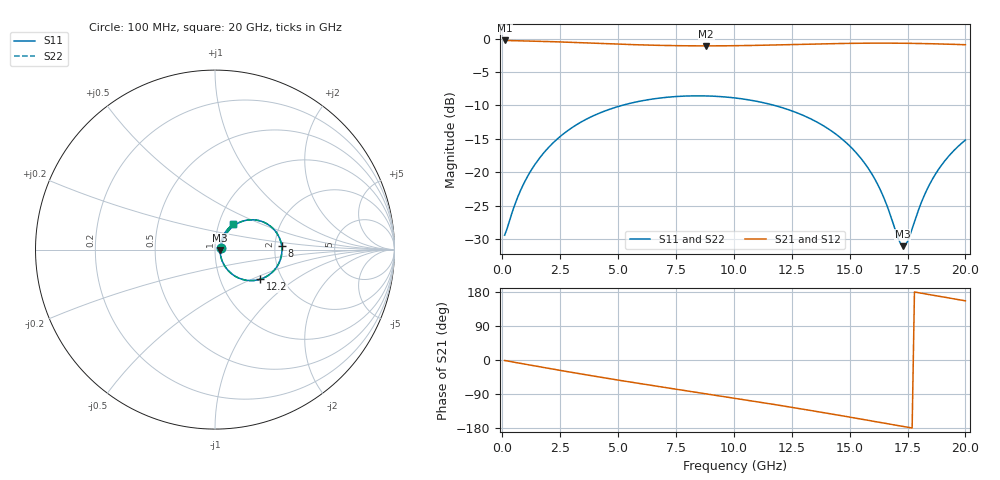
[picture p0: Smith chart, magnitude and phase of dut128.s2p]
! Touchstone file exported from HFSS 2026.1.0
!  File:  C:/ffzhzh/LocalFiles/Ansys_Project_Files/temp_train_TSV_RDL_128_1783049030_17544.aedt
!  Generated:  11:33:15 AM Jul  3, 2026
!  Design:  TSV_RDL
!  Project:  temp_train_TSV_RDL_128_1783049030_17544
! Variables:
!  h_bsmrdl = 5.69um
!  h_ox = 20um
!  h_rdl = 5um
!  h_sub = 70.52um
!  h_tmrdl = 3.34um
!  h_tsv = 70.52um
!  h_via = 3um
!  l_bsmrdl = 116.79um
!  l_sub = 3453.95um
!  l_tmrdl = 659.23um
!  m_sub = 200um
!  pitch = 19.86um
!  r_tsv = 2.91um
!  s_tmrdl = 10um
!  w_bsmrdl = 10.99um
!  w_sub = 500um
!  w_tmrdl = 11.23um
!  x_tsv_center1 = 664.845um
!  x_tsv_center2 = 792.625um
!  x_tsv_center3 = 1463.085um
!  x_tsv_center4 = 1590.865um
!  x_tsv_center5 = 2261.325um
!  x_tsv_center6 = 2389.105um
# GHz S MA R 50.000000
! Terminal data exported
! Port[1] = TM_RDL1_1_T1
! Port[2] = TM_RDL5_1_T1
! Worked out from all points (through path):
!   200 points, 100 MHz to 20 GHz, reference 50 ohm
!   highest |S21| = -0.29 dB at 100 MHz (marker M1); lowest = -1.1 dB at 8.8 GHz (marker M2)
!   group delay of S21, straight-line fit = 27.8 ps
!   lowest |S11| = -31.0 dB at 17.3 GHz (marker M3), VSWR 1.06, Z = 52.9 - j0.173 ohm
!   |S11| at or under -10 dB: start of sweep to 5.171 GHz; 11.75 GHz to end of sweep
!   |S22| runs from -31.1 to -8.6 dB; largest |S21 - S12| = 1.6e-14
!   S11 on the Smith chart (normalised r, x): 100 MHz: 1.07, +0.02; 8 GHz: 2.18, +0.11; 12.2 GHz: 1.54, -0.56; 20 GHz: 1.17, +0.34
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0.1  0.03388 14.0  0.9673 -1.2  0.9673 -1.2  0.03388 14.0
! Gamma 0 0 0 0
! Port Impedance 50 0 50 0
0.7  0.06742 49.1  0.9616 -8.0  0.9616 -8.0  0.06742 49.1
1.4  0.1138 54.6  0.9553 -15.6  0.9553 -15.6  0.1138 54.5
2.3  0.1727 51.5  0.9455 -25.3  0.9455 -25.3  0.1727 51.4
3.5  0.2427 42.6  0.9292 -37.9  0.9292 -37.9  0.2427 42.6
5.1  0.3137 28.8  0.9067 -54.0  0.9067 -54.0  0.3138 28.8
6.8  0.3588 13.8  0.8889 -70.3  0.8889 -70.3  0.3588 13.8
8  0.3719 3.3  0.8824 -81.7  0.8824 -81.7  0.372 3.3
8.8  0.3723 -3.7  0.8811 -89.2  0.8811 -89.2  0.3723 -3.7
10.1  0.3587 -15.1  0.884 -101.5  0.884 -101.5  0.3587 -15.1
12.2  0.3 -33.5  0.8984 -121.9  0.8984 -121.9  0.3 -33.5
13.4  0.247 -43.9  0.9088 -134.0  0.9088 -134.0  0.247 -43.9
14.5  0.1874 -52.6  0.9172 -145.4  0.9172 -145.4  0.1874 -52.7
15.4  0.1327 -58.1  0.9219 -154.9  0.9219 -154.9  0.1328 -58.2
16.1  0.08823 -58.9  0.9236 -162.4  0.9236 -162.4  0.08822 -59.1
16.7  0.05126 -50.5  0.9236 -168.8  0.9236 -168.8  0.05119 -50.7
17.1  0.03199 -26.7  0.9227 -173.1  0.9227 -173.1  0.03182 -27.0
17.3  0.02803 -3.3  0.922 -175.2  0.922 -175.2  0.0278 -3.5
17.5  0.03041 21.4  0.9211 -177.4  0.9211 -177.4  0.03016 21.4
18.1  0.05961 54.2  0.9176 176.2  0.9176 176.2  0.05943 54.4
18.6  0.09023 59.1  0.9136 170.9  0.9136 170.9  0.09008 59.2
20  0.1741 54.0  0.8987 156.2  0.8987 156.2  0.174 54.1
